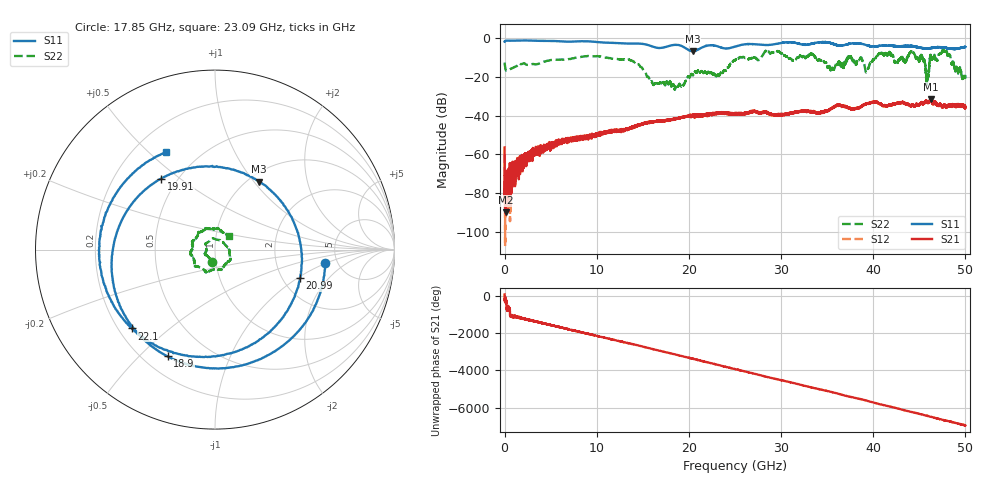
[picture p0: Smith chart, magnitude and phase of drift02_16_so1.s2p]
!Created with skrf (http://scikit-rf.org).
# Hz S RI R 50.0
!freq ReS11 ImS11 ReS21 ImS21 ReS12 ImS12 ReS22 ImS22
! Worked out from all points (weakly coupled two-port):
!   10001 points, 300 kHz to 50 GHz, reference 50 ohm
!   highest |S21| = -31.58 dB at 46.22 GHz (marker M1); lowest = -89.8 dB at 120.3 MHz (marker M2)
!   lowest |S11| = -6.9 dB at 20.41 GHz (marker M3), VSWR 2.64, Z = 55.7 + j53 ohm
!   |S11| at or under -10 dB: nowhere
!   |S22| runs from -26.5 to -6.3 dB; largest |S21 - S12| = 0.0028
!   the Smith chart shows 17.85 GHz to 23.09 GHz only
!   S11 on the Smith chart (normalised r, x): 17.85 GHz: 3.98, -0.96; 18.9 GHz: 0.29, -0.61; 19.91 GHz: 0.41, +0.43; 20.99 GHz: 2.48, -1.06; 22.1 GHz: 0.25, -0.38; 23.09 GHz: 0.33, +0.57
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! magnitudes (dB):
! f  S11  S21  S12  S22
! 300 kHz  -2.0  -56.3  -59.9  -12.7
! 120.3 MHz  -1.5  -89.8  -78.0  -16.6
! 3.105 GHz  -1.4  -58.7  -58.7  -13.4
! 8.335 GHz  -1.7  -51.0  -51.6  -9.7
! 13.7 GHz  -2.9  -46.5  -46.5  -11.6
! 16.67 GHz  -5.2  -43.0  -42.7  -23.5
! 17.85 GHz  -4.2  -42.2  -42.2  -22.9
! 18.9 GHz  -3.7  -41.2  -41.2  -24.2
! 19.91 GHz  -6.1  -40.4  -40.3  -19.9
! 20.41 GHz  -6.9  -40.5  -40.5  -19.0
! 20.99 GHz  -6.0  -39.8  -40.3  -16.9
! 22.1 GHz  -3.9  -39.7  -39.3  -17.6
! 23.09 GHz  -4.3  -39.0  -38.9  -19.2
! 25 GHz  -4.5  -38.7  -38.8  -11.5
! 33.34 GHz  -3.0  -38.0  -38.1  -8.4
! 39.31 GHz  -3.8  -33.7  -33.7  -17.2
! 41.67 GHz  -4.0  -34.7  -34.7  -7.9
! 44.26 GHz  -4.3  -34.5  -34.7  -7.4
! 45.85 GHz  -5.4  -32.8  -32.8  -20.2
! 46.22 GHz  -5.3  -31.6  -31.5  -8.7
! 47.75 GHz  -5.0  -34.6  -35.1  -7.0
! 50 GHz  -4.7  -35.5  -36.0  -19.8
